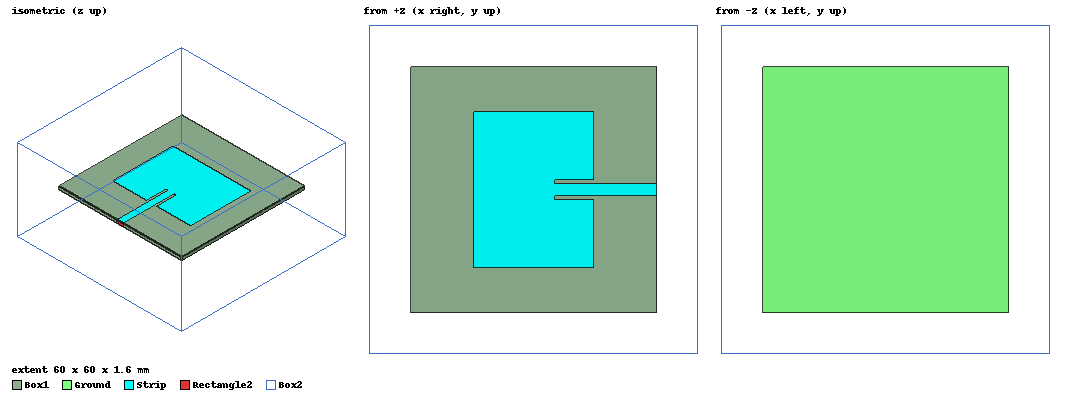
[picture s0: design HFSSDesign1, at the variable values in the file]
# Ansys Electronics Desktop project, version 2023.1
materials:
  vacuum: permittivity=1
  FR4_epoxy: permittivity=4.4 dielectric_loss_tangent=0.02
  air: permittivity=1.0006 permeability=1.0000004

design HFSSDesign1 (HFSS, HFSS Modal Network, model units mm)
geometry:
  Ground = rectangle(corner=(-30mm, -30mm, 0mm), x_size=60mm, y_size=60mm)
  Box1 [FR4_epoxy] = box(corner=(-30mm, -30mm, 0mm), size=(60mm, 60mm, 1.6mm))
  Patch = rectangle(corner=((-29.4/2) mm, (-38/2) mm, 1.6mm), x_size=29.4mm, y_size=38mm)
  Strip = rectangle(corner=(0mm, -1.5mm, 1.6mm), x_size=30mm, y_size=3mm)
  Rectangle1 = rectangle(corner=(14.7mm, -2.5mm, 1.6mm), x_size=-9.5mm, y_size=5mm)
  Patch.subtract(Rectangle1)
  Strip.unite(Patch)
  Rectangle2 = rectangle(corner=(30mm, -1.5mm, 1.6mm), y_size=3mm, z_size=-1.6mm)
  Box2 [air] = box(corner=(-40mm, -40mm, -20mm), size=(80mm, 80mm, 40mm))
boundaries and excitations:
  PerfE1: Perfect E Objects=[Strip, Ground]
  1: Lumped Port Objects=Rectangle2 LumpedPortType=Default Modes{Mode1{IntLine{(30, 0, 0) -> (30, 0, 1.6)} CharImp=Zpi RenormImp=50ohm}} Impedance=50ohm
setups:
  Setup1: HfssDriven Frequency=2.4GHz MaxDeltaS=0.02 MaximumPasses=6 MinimumPasses=1 MinimumConvergedPasses=1 PercentRefinement=30 BasisOrder=1 PortAccuracy=2 DrivenSolverType="Direct Solver"
    sweep Sweep: 1.2GHz to 3.6GHz, 401 points; Type=Interpolating InterpTolerance=0.5 InterpMaxSolns=250 InterpUsePortImped=false PassivityErrorTolerance=0.0001
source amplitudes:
  1:1: 1W 0deg
